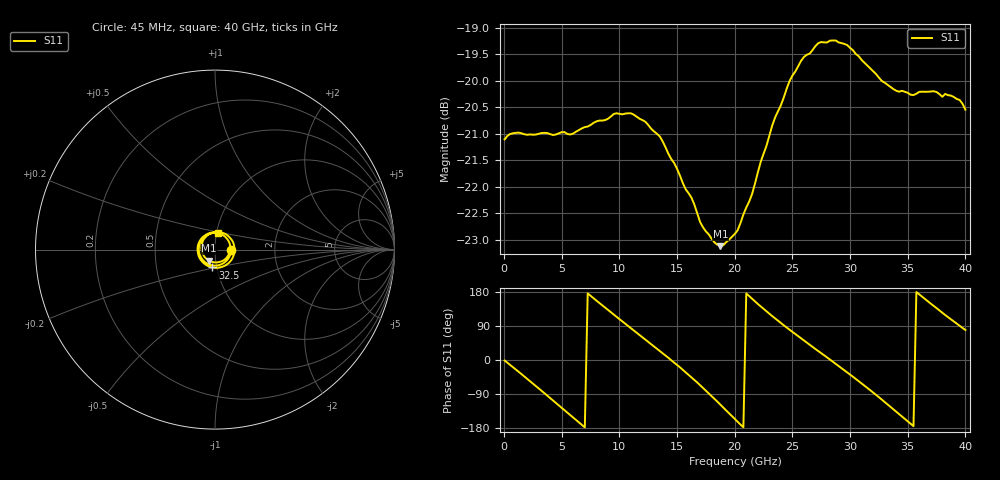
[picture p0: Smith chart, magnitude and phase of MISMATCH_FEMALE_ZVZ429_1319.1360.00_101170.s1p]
#  HZ  S  DB  R  50
! Company: Rohde & Schwarz
! Verification Kit: ZVZ429
! Verification Standard: MISMATCH_FEMALE
! Serial Number: 101170
! MT-K NWA Calibriersystem
! <Frequency>  <S11>
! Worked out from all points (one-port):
!   162 points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, 45 MHz to 40 GHz, reference 50 ohm
!   lowest |S11| = -23.1 dB at 18.75 GHz (marker M1), VSWR 1.15, Z = 46.5 - j5.78 ohm
!   |S11| at or under -10 dB: start of sweep to end of sweep
!   S11 on the Smith chart (normalised r, x): 45 MHz: 1.19, -0.00; 32.5 GHz: 0.95, -0.19; 40 GHz: 1.02, +0.19
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4.5e7  -21.10 -1.3
1.25e9  -20.98 -30.8
3e9  -21.00 -74.9
4e9  -21.01 -100.5
5.25e9  -20.97 -132.8
6.5e9  -20.92 -164.8
7.75e9  -20.79 163.1
1.025e10  -20.63 101.8
1.15e10  -20.68 71.8
1.3e10  -20.95 36.0
1.4e10  -21.25 12.0
1.525e10  -21.79 -19.3
1.7e10  -22.67 -66.5
1.875e10  -23.12 -117.8
2.025e10  -22.82 -163.0
2.25e10  -21.37 135.0
2.375e10  -20.58 103.8
2.525e10  -19.82 68.6
2.775e10  -19.27 12.6
2.9e10  -19.27 -15.5
3.025e10  -19.42 -44.1
3.15e10  -19.71 -73.7
3.25e10  -19.94 -98.1
3.4e10  -20.19 -136.5
3.525e10  -20.26 -168.0
3.65e10  -20.21 160.9
3.8e10  -20.30 124.6
4e10  -20.54 79.3
